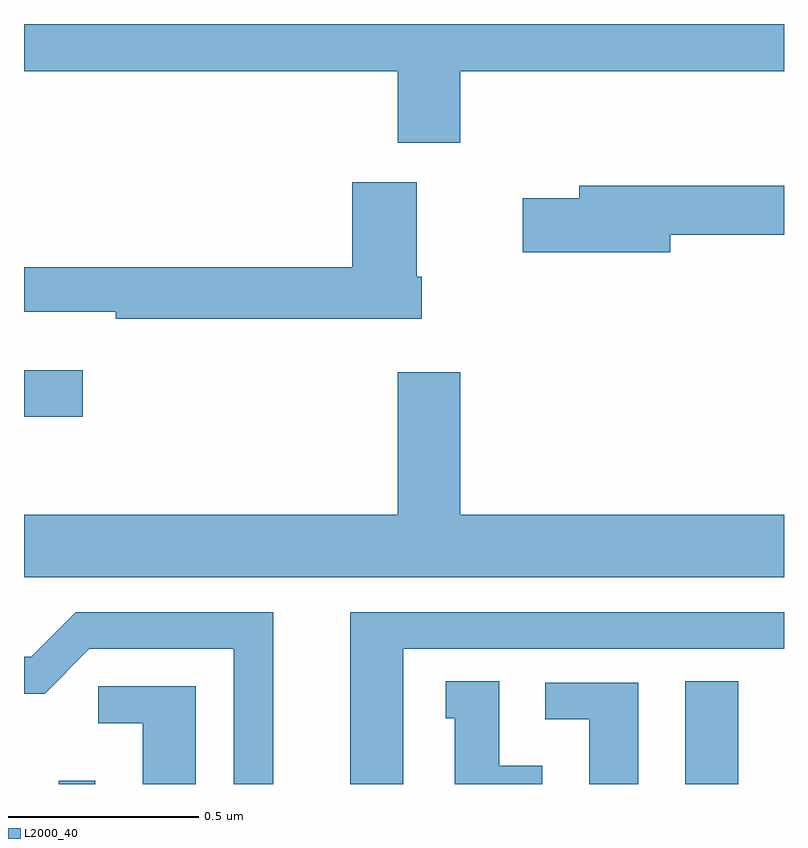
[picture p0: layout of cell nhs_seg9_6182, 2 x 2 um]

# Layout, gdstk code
import gdstk
lib = gdstk.Library(unit=1e-6, precision=1e-09)
def R(c, l, rs):  # rectangles x0, y0, x1, y1
    for r in rs: c.add(gdstk.rectangle(r[:2], r[2:], *l))
def P(c, l, *ps):  # polygons
    for p in ps: c.add(gdstk.Polygon(p, *l))
L2000_40 = (2000, 40)

nhs_seg9_6182 = lib.new_cell('nhs_seg9_6182')
R(nhs_seg9_6182, L2000_40, [(188.091,1238.5,188.187,1238.509), (189.74,1238.5,189.88,1238.771), (188,1239.467,188.155,1239.589)])
P(nhs_seg9_6182, L2000_40, [(189.148,1240.376),(190,1240.376),(190,1240.5),(188,1240.5),(188,1240.376),(188.984,1240.376),(188.984,1240.188),(189.148,1240.188)],
  [(189.047,1239.835),(189.034,1239.835),(189.034,1240.084),(188.864,1240.084),(188.864,1239.86),(188,1239.86),(188,1239.743),(188.242,1239.743),(188.242,1239.724),(189.047,1239.724)],
  [(189.7,1239.946),(190,1239.946),(190,1240.075),(189.461,1240.075),(189.461,1240.041),(189.312,1240.041),(189.312,1239.899),(189.7,1239.899)],
  [(190,1239.208),(189.148,1239.208),(189.148,1239.583),(188.984,1239.583),(188.984,1239.208),(188,1239.208),(188,1239.044),(190,1239.044)],
  [(188.656,1238.952),(188.136,1238.952),(188.019,1238.835),(188,1238.835),(188,1238.738),(188.054,1238.738),(188.172,1238.856),(188.552,1238.856),(188.552,1238.5),(188.656,1238.5)],
  [(188.998,1238.856),(190,1238.856),(190,1238.952),(188.858,1238.952),(188.858,1238.5),(188.998,1238.5)],
  [(189.364,1238.548),(189.25,1238.548),(189.25,1238.771),(189.11,1238.771),(189.11,1238.673),(189.134,1238.673),(189.134,1238.5),(189.364,1238.5)],
  [(189.616,1238.766),(189.372,1238.766),(189.372,1238.67),(189.488,1238.67),(189.488,1238.5),(189.616,1238.5)],
  [(188.452,1238.757),(188.196,1238.757),(188.196,1238.66),(188.312,1238.66),(188.312,1238.5),(188.452,1238.5)])

lib.write_gds('nhs_seg9_6182.gds')
